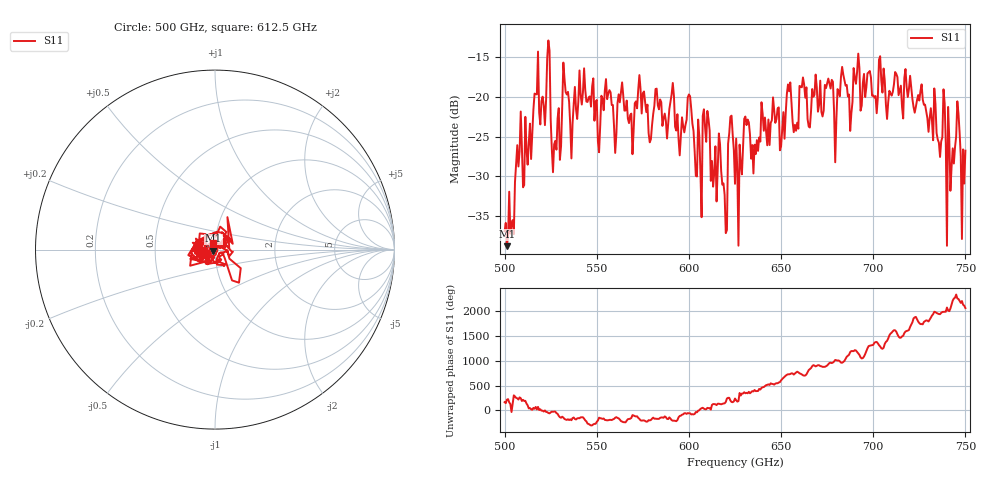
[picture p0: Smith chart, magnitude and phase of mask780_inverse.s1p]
!Created with skrf (http://scikit-rf.org).
# GHz S MA R 50.0
!freq magS11 angS11
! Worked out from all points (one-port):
!   401 points, 500 GHz to 750 GHz, reference 50 ohm
!   lowest |S11| = -38.8 dB at 501.2 GHz (marker M1), VSWR 1.02, Z = 49.1 - j0.657 ohm
!   |S11| at or under -10 dB: start of sweep to end of sweep
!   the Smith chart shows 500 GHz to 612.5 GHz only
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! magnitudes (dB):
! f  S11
! 500 GHz  -37.0
! 501.2 GHz  -38.8
! 516.9 GHz  -19.6
! 520.6 GHz  -20.0
! 523.8 GHz  -12.9
! 526.9 GHz  -26.0
! 531.2 GHz  -21.2
! 562.5 GHz  -20.7
! 579.4 GHz  -25.3
! 590.6 GHz  -19.6
! 593.8 GHz  -22.2
! 600.6 GHz  -19.9
! 605.6 GHz  -24.9
! 609.4 GHz  -25.7
! 619.4 GHz  -32.4
! 622.5 GHz  -22.5
! 625 GHz  -31.0
! 656.2 GHz  -23.1
! 676.9 GHz  -18.9
! 680 GHz  -22.8
! 683.8 GHz  -17.2
! 687.5 GHz  -24.3
! 690.6 GHz  -18.3
! 718.8 GHz  -20.0
! 738.1 GHz  -19.0
! 741.2 GHz  -25.2
! 745.6 GHz  -20.5
! 750 GHz  -26.8
